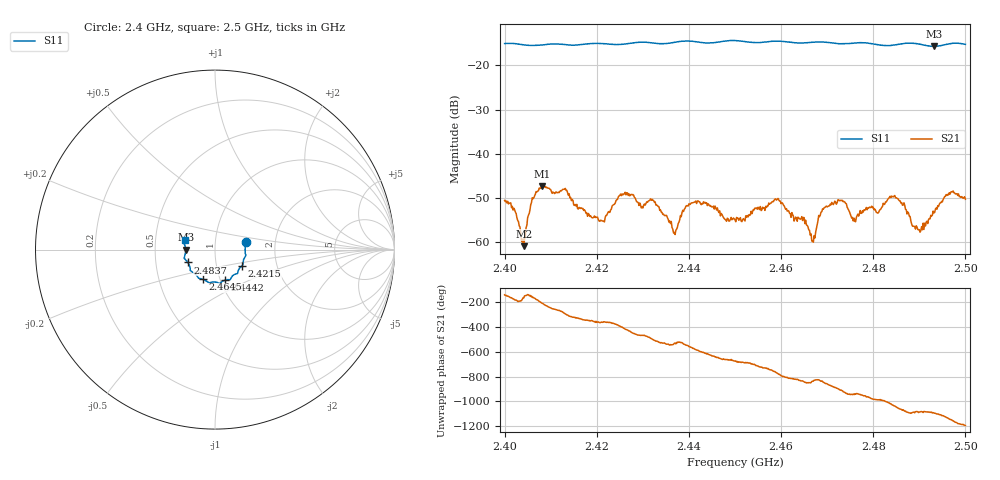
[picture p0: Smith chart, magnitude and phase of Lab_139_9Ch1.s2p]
# Hz S RI R 50
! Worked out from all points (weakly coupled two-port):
!   601 points, 2.4 GHz to 2.5 GHz, reference 50 ohm
!   highest |S21| = -47.36 dB at 2.4082 GHz (marker M1); lowest = -60.9 dB at 2.4042 GHz (marker M2)
!   lowest |S11| = -15.7 dB at 2.4932 GHz (marker M3), VSWR 1.39, Z = 35.9 - j0.0448 ohm
!   |S11| at or under -10 dB: start of sweep to end of sweep
!   S12 and S22 are empty: the file has one direction only
!   S11 on the Smith chart (normalised r, x): 2.4 GHz: 1.41, +0.12; 2.4215 GHz: 1.33, -0.25; 2.4442 GHz: 1.05, -0.37; 2.4645 GHz: 0.83, -0.29; 2.4837 GHz: 0.73, -0.11; 2.5 GHz: 0.71, +0.08
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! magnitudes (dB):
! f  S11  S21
! 2.4 GHz  -15.1  -50.5
! 2.4042 GHz  -15.4  -60.9
! 2.4062 GHz  -15.5  -50.2
! 2.4082 GHz  -15.4  -47.4
! 2.4167 GHz  -15.3  -52.2
! 2.4215 GHz  -15.1  -55.2
! 2.4257 GHz  -15.3  -49.3
! 2.4333 GHz  -15.1  -51.9
! 2.437 GHz  -14.8  -58.2
! 2.4397 GHz  -14.5  -51.7
! 2.4442 GHz  -15.0  -51.3
! 2.45 GHz  -14.4  -54.9
! 2.459 GHz  -14.5  -50.5
! 2.4645 GHz  -15.0  -54.2
! 2.4667 GHz  -14.8  -59.7
! 2.4712 GHz  -15.0  -51.2
! 2.4758 GHz  -15.0  -54.5
! 2.4833 GHz  -15.6  -50.1
! 2.4837 GHz  -15.5  -49.6
! 2.4897 GHz  -15.1  -57.1
! 2.4932 GHz  -15.7  -53.4
! 2.5 GHz  -15.3  -50.3
